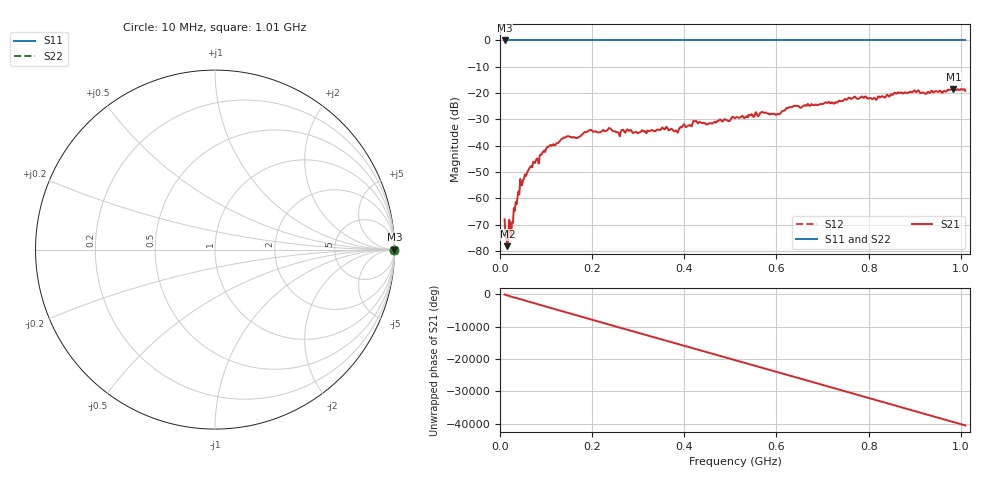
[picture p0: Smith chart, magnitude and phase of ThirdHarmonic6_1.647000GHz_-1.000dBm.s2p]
! 8/16/2025 7:42:57 PM
! C:\ANRITSUVNA\TEMP\TEMP.S2P
! CHANNEL.1
! TR.MEASUREMENT
! RAW.DATA
! RF.CORRECTION.OFF
! AVERAGING.OFF
! IF.BANDWIDTH: 5KHZ
! SWEEPTYPE:  FREQ.SWEEP(Linear)
! Reference Plane Port Info
! PORT:  PORT1  PORT2
! DISTANCE:  0  m  0  m
! TIME:  0  s  0  s
! PHASE.OFFSET:  0  deg.  0  deg.
! LOSS:  0  dB  0  dB
! REF.LOSS:  0  dB  0  dB
! REF.FREQ:  0  Hz  0  Hz
! Power Info
! POWER:  -20  dBm  -20  dBm
! EFF.POWER:  -20  dBm  -20  dBm
! SOURCE.ATTEN:  0  dB  0  dB
! TEST.ATTEN:  0  dB  0  dB
# GHZ S RI R 50.0
! FREQ.GHZ  S11RE  S11IM  S21RE  S21IM  S12RE  S12IM  S22RE  S22IM
!; PortSelection: Port_12
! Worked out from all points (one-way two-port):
!   501 points, 10 MHz to 1.01 GHz, reference 50 ohm
!   highest |S21| = -18.43 dB at 984 MHz (marker M1); lowest = -78.2 dB at 16 MHz (marker M2)
!   lowest |S11| = 0.0 dB at 10 MHz (marker M3)
!   |S11| at or under -10 dB: nowhere
!   |S22| runs from 0.0 to 0.0 dB; largest |S21 - S12| = 1.1
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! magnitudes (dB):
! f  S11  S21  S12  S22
! 10 MHz  0.0  -68.0  0.0  0.0
! 16 MHz  0.0  -78.2  0.0  0.0
! 28 MHz  0.0  -69.4  0.0  0.0
! 42 MHz  0.0  -58.5  0.0  0.0
! 64 MHz  0.0  -48.6  0.0  0.0
! 106 MHz  0.0  -40.2  0.0  0.0
! 142 MHz  0.0  -36.9  0.0  0.0
! 178 MHz  0.0  -35.8  0.0  0.0
! 238 MHz  0.0  -33.4  0.0  0.0
! 256 MHz  0.0  -34.9  0.0  0.0
! 344 MHz  0.0  -33.8  0.0  0.0
! 382 MHz  0.0  -34.2  0.0  0.0
! 422 MHz  0.0  -30.7  0.0  0.0
! 450 MHz  0.0  -31.8  0.0  0.0
! 510 MHz  0.0  -29.5  0.0  0.0
! 570 MHz  0.0  -27.2  0.0  0.0
! 602 MHz  0.0  -27.8  0.0  0.0
! 626 MHz  0.0  -25.5  0.0  0.0
! 678 MHz  0.0  -24.5  0.0  0.0
! 844 MHz  0.0  -21.3  0.0  0.0
! 984 MHz  0.0  -18.4  0.0  0.0
! 1.01 GHz  0.0  -19.1  0.0  0.0
